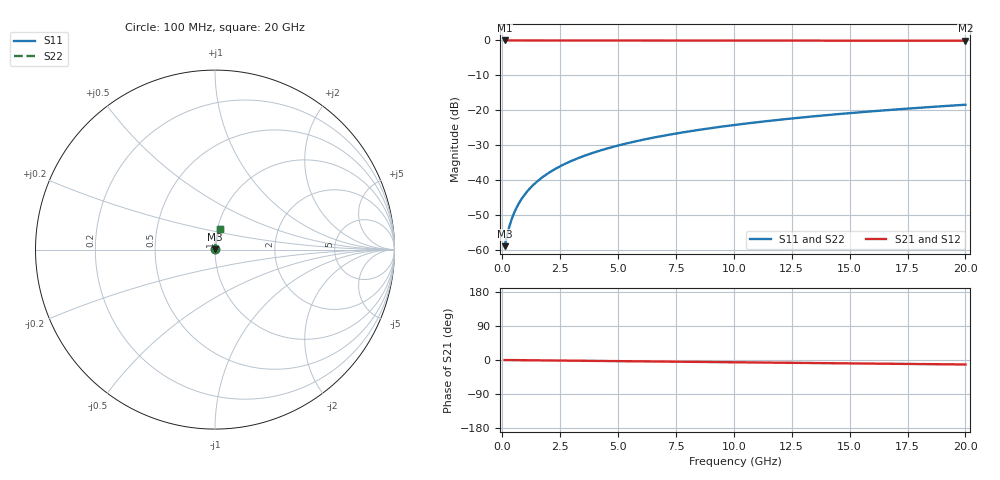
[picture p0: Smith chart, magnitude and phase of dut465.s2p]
! Touchstone file exported from HFSS 2026.1.0
!  File:  C:/ffzhzh/LocalFiles/Ansys_Project_Files/temp_train_TSV_465_1783022097_55676.aedt
!  Generated:  03:57:26 AM Jul  3, 2026
!  Design:  TSV
!  Project:  temp_train_TSV_465_1783022097_55676
! Variables:
!  h_bsmrdl = 2um
!  h_ox = 20um
!  h_rdl = 5um
!  h_sub = 96.25um
!  h_tmrdl = 5um
!  h_tsv = 96.25um
!  h_via = 3um
!  l_bsmrdl = 300um
!  l_sub = 406.92um
!  l_tmrdl = 200um
!  m_sub = 200um
!  pitch = 43.33um
!  r_tsv = 3.46um
!  s_tmrdl = 10um
!  w_bsmrdl = 18um
!  w_sub = 500um
!  w_tmrdl = 12um
!  x_tsv_center1 = 206um
!  x_tsv_center2 = 524um
!  x_tsv_center3 = 736um
!  x_tsv_center4 = 1054um
!  x_tsv_center5 = 1266um
!  x_tsv_center6 = 1584um
# GHz S MA R 50.000000
! Terminal data exported
! Port[1] = TSV1_1_T1
! Port[2] = TSV1_1_T2
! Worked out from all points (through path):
!   200 points, 100 MHz to 20 GHz, reference 50 ohm
!   highest |S21| = -0.01 dB at 100 MHz (marker M1); lowest = -0.1 dB at 20 GHz (marker M2)
!   group delay of S21, straight-line fit = 1.64 ps
!   lowest |S11| = -58.8 dB at 100 MHz (marker M3), VSWR 1.00, Z = 50.1 + j0.0648 ohm
!   |S11| at or under -10 dB: start of sweep to end of sweep
!   |S22| runs from -58.8 to -18.4 dB; largest |S21 - S12| = 2.8e-15
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0.1  0.001142 34.5  0.9991 -0.1  0.9991 -0.1  0.001142 34.5
! Gamma 0 0 0 0
! Port Impedance 50 0 50 0
0.2  0.001603 53.6  0.9991 -0.1  0.9991 -0.1  0.001603 53.6
0.3  0.002157 63.4  0.999 -0.2  0.999 -0.2  0.002157 63.4
0.4  0.002745 69.1  0.999 -0.2  0.999 -0.2  0.002745 69.1
0.5  0.003348 72.7  0.999 -0.3  0.999 -0.3  0.003348 72.7
0.6  0.003961 75.2  0.999 -0.4  0.999 -0.4  0.003961 75.2
0.8  0.005199 78.4  0.999 -0.5  0.999 -0.5  0.005199 78.4
1.1  0.007074 81.0  0.9989 -0.7  0.9989 -0.7  0.007074 81.0
1.5  0.009586 82.7  0.9989 -0.9  0.9989 -0.9  0.009586 82.7
1.8  0.01147 83.4  0.9988 -1.1  0.9988 -1.1  0.01147 83.4
2.1  0.01336 83.9  0.9988 -1.3  0.9988 -1.3  0.01336 83.9
2.7  0.01712 84.3  0.9986 -1.6  0.9986 -1.6  0.01712 84.3
3.5  0.02212 84.4  0.9984 -2.1  0.9984 -2.1  0.02212 84.4
4.2  0.02646 84.3  0.9982 -2.5  0.9982 -2.5  0.02646 84.3
5  0.03139 84.0  0.9979 -3.0  0.9979 -3.0  0.03139 84.0
5.9  0.0369 83.6  0.9975 -3.6  0.9975 -3.6  0.0369 83.6
6.8  0.04238 83.3  0.9971 -4.1  0.9971 -4.1  0.04238 83.3
8.3  0.05144 82.6  0.9965 -5.0  0.9965 -5.0  0.05144 82.6
10.1  0.06224 81.7  0.9956 -6.0  0.9956 -6.0  0.06224 81.7
13.4  0.08184 80.0  0.9938 -8.0  0.9938 -8.0  0.08184 80.0
16.7  0.1012 78.3  0.9917 -9.9  0.9917 -9.9  0.1012 78.3
20  0.1204 76.5  0.9892 -11.8  0.9892 -11.8  0.1204 76.5
